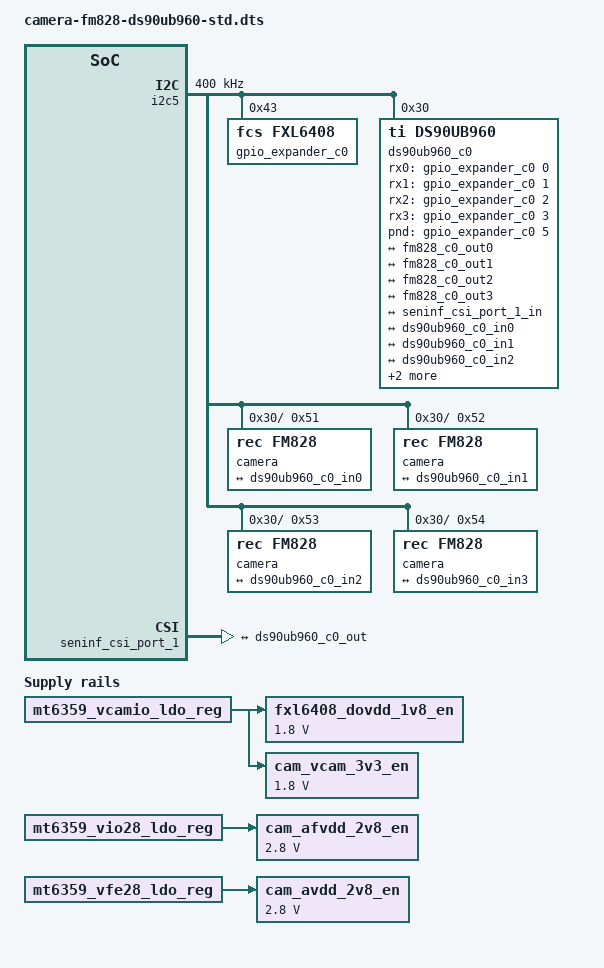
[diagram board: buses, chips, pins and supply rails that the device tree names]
// SPDX-License-Identifier: GPL-2.0
/*
 * Copyright (c) 2024 MediaTek Inc.
 *
 */

#include <dt-bindings/clock/mediatek,mt8188-clk.h>
#include <dt-bindings/gpio/gpio.h>
#include <dt-bindings/pinctrl/mediatek,mt8188-pinfunc.h>

/dts-v1/;
/plugin/;

#include "isp71.dtsi"

/ {
	fragment@4 {
		target-path = "/";
		__overlay__ {
			fxl6408_dovdd_1v8_en: fxl6408_dovdd_1v8_en-regulator {
				compatible = "regulator-fixed";
				regulator-name = "fxl6408_dovdd_1v8_en";
				regulator-min-microvolt = <1800000>;
				regulator-max-microvolt = <1800000>;
				vin-supply = <&mt6359_vcamio_ldo_reg>;
				enable-active-high;
				//regulator-always-on;
			};
			cam_afvdd_2v8_en: cam_afvdd_2v8_en-regulator {
				compatible = "regulator-fixed";
				regulator-name = "cam_afvdd_2v8_en";
				regulator-min-microvolt = <2800000>;
				regulator-max-microvolt = <2800000>;
				vin-supply = <&mt6359_vio28_ldo_reg>;
				//regulator-always-on;
			};
			cam_avdd_2v8_en: cam_avdd_2v8_en-regulator {
				compatible = "regulator-fixed";
				regulator-name = "cam_avdd_2v8_en";
				regulator-min-microvolt = <2800000>;
				regulator-max-microvolt = <2800000>;
				vin-supply = <&mt6359_vfe28_ldo_reg>;
				//regulator-always-on;
			};
			cam_vcam_3v3_en: cam-vcam-3v3-en-regulator {
				compatible = "regulator-fixed";
				regulator-name = "cam_vcam_3v3_en";
				regulator-min-microvolt = <1800000>;
				regulator-max-microvolt = <1800000>;
				vin-supply = <&mt6359_vcamio_ldo_reg>;
				enable-active-high;
				//regulator-always-on;
			};
		};
	};

	fragment@5 {
		target = <&i2c5>;
		__overlay__ {
			clock-frequency = <400000>;

			gpio_expander_c0: gpio_expander_c0@43 { 
				gpio-controller; 
				#gpio-cells = <2>; 

				reg = <0x43>; 
				compatible = "fcs,fxl6408"; 
			};

			ds90ub960_c0: ds90ub960_c0@30 {
				compatible = "ti,ds90ub960";
				reg = <0x30>;
				
				power-supply = <&cam_vcam_3v3_en>;

				rx0-gpios				= <&gpio_expander_c0 0 GPIO_ACTIVE_HIGH>;
				rx1-gpios				= <&gpio_expander_c0 1 GPIO_ACTIVE_HIGH>;
				rx2-gpios				= <&gpio_expander_c0 2 GPIO_ACTIVE_HIGH>;
				rx3-gpios				= <&gpio_expander_c0 3 GPIO_ACTIVE_HIGH>;
				pnd-gpios				= <&gpio_expander_c0 5 GPIO_ACTIVE_HIGH>;

				gpio-controller;
				#gpio-cells = <2>;

				ports {
					#address-cells = <1>;
					#size-cells = <0>;

					port@0 {
						reg = <0>;

						ds90ub960_c0_in0: endpoint {
							remote-endpoint = <&fm828_c0_out0>;
						};
					};

					port@1 {
						reg = <1>;

						ds90ub960_c0_in1: endpoint {
							remote-endpoint = <&fm828_c0_out1>;
						};
					};

					port@2 {
						reg = <2>;

						ds90ub960_c0_in2: endpoint {
							remote-endpoint = <&fm828_c0_out2>;
						};
					};

					port@3 {
						reg = <3>;

						ds90ub960_c0_in3: endpoint {
							remote-endpoint = <&fm828_c0_out3>;
						};
					};

					port@4 {
						reg = <4>;

						ds90ub960_c0_out: endpoint {
							data-lanes = <1 2 3 4>;
							remote-endpoint = <&seninf_csi_port_1_in>;
						};
					};
				};

				i2c-mux {
					#address-cells = <1>;
					#size-cells = <0>;

					i2c@0 {
						#address-cells = <1>;
						#size-cells = <0>;
						reg = <0>;

						camera@51 {
							compatible = "rec,fm828";
							reg = <0x51>, <0x61>;

							port {
								fm828_c0_out0: endpoint {
									remote-endpoint = <&ds90ub960_c0_in0>;
								};
							};

						};
					};

					i2c@1 {
						#address-cells = <1>;
						#size-cells = <0>;
						reg = <1>;

						camera@52 {
							compatible = "rec,fm828";
							reg = <0x52>, <0x62>;

							port {
								fm828_c0_out1: endpoint {
									remote-endpoint = <&ds90ub960_c0_in1>;
								};
							};
						};
					};

					i2c@2 {
						#address-cells = <1>;
						#size-cells = <0>;
						reg = <2>;

						camera@53 {
							compatible = "rec,fm828";
							reg = <0x53>, <0x63>;

							port {
								fm828_c0_out2: endpoint {
									remote-endpoint = <&ds90ub960_c0_in2>;
								};
							};
						};
					};

					i2c@3 {
						#address-cells = <1>;
						#size-cells = <0>;
						reg = <3>;

						camera@54 {
							compatible = "rec,fm828";
							reg = <0x54>, <0x64>;

							port {
								fm828_c0_out3: endpoint {
									remote-endpoint = <&ds90ub960_c0_in3>;
								};
							};
						};
					};
				};
			};
		};
	};

	fragment@6 {
		target = <&seninf_top>;
		__overlay__ {
			seninf_csi_port_1: seninf_csi_port_1 {
				compatible = "mediatek,seninf";
				csi-port = "1";
				settle_delay_ck = <0x00>;
				dphy_settle_delay_dt = <0x10>;
				hs_trail_parameter = <0x08>;

				ports {
					port@2 {
						seninf_csi_port_1_in: endpoint {
							remote-endpoint = <&ds90ub960_c0_out>;
							data-lanes = <1 2 3 4>;
						};
					};
				};
			};
		};
	};
};
